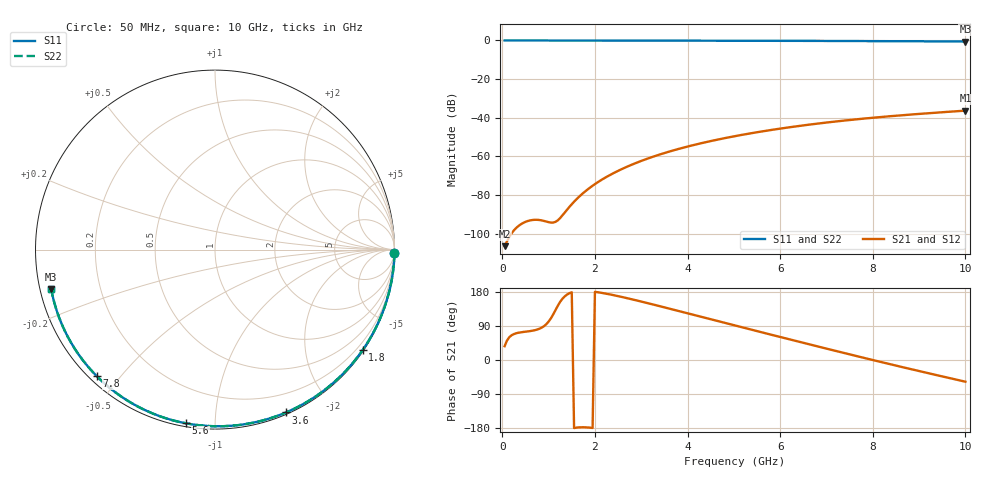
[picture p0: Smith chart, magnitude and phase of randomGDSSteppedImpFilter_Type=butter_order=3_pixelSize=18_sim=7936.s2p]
! freq	dB(S11)	phase(S11)	dB(S12)	phase(S12)
!  dB(S21)	phase(S21)	dB(S22)	phase(S22)
!S-par simulation data
#  GHz  S  DB  R 50
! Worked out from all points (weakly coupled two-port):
!   200 points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, 50 MHz to 10 GHz, reference 50 ohm
!   highest |S21| = -36.31 dB at 10 GHz (marker M1); lowest = -106.4 dB at 50 MHz (marker M2)
!   lowest |S11| = -0.6 dB at 10 GHz (marker M3), VSWR 31.59, Z = 1.6 - j5.93 ohm
!   |S11| at or under -10 dB: nowhere
!   |S22| runs from -0.5 to 0.0 dB; largest |S21 - S12| = 0
!   S11 on the Smith chart (normalised r, x): 50 MHz: open; 1.8 GHz: 0.03, -3.25; 3.6 GHz: 0.02, -1.53; 5.6 GHz: 0.02, -0.85; 7.8 GHz: 0.02, -0.43; 10 GHz: 0.03, -0.12
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0.05  -0.00 -1.0  -106.44 36.4  -106.44 36.4  -0.00 -1.0
0.45  -0.01 -8.7  -94.42 73.9  -94.42 73.9  -0.01 -8.7
0.85  -0.02 -16.4  -93.09 85.4  -93.09 85.4  -0.02 -16.4
1.65  -0.04 -31.4  -81.04 -177.8  -81.04 -177.8  -0.04 -31.4
1.7  -0.04 -32.4  -79.93 -177.5  -79.93 -177.5  -0.04 -32.3
1.75  -0.04 -33.3  -78.89 -177.5  -78.89 -177.5  -0.04 -33.3
1.8  -0.04 -34.2  -77.89 -177.7  -77.89 -177.7  -0.04 -34.2
2.1  -0.05 -39.7  -72.76 178.1  -72.76 178.1  -0.05 -39.7
2.3  -0.06 -43.4  -69.94 173.7  -69.94 173.7  -0.06 -43.4
2.5  -0.06 -47.0  -67.47 168.6  -67.47 168.6  -0.06 -47.0
2.9  -0.07 -54.2  -63.26 157.2  -63.26 157.2  -0.07 -54.2
3.4  -0.08 -63.0  -59.01 142.1  -59.01 142.1  -0.08 -63.0
3.6  -0.09 -66.5  -57.53 135.8  -57.53 135.8  -0.09 -66.5
4.3  -0.11 -78.3  -53.14 113.8  -53.14 113.8  -0.11 -78.3
5.05  -0.14 -90.7  -49.40 90.3  -49.40 90.3  -0.14 -90.6
5.6  -0.16 -99.4  -47.10 73.1  -47.10 73.1  -0.16 -99.4
6.15  -0.19 -108.0  -45.09 56.1  -45.09 56.1  -0.19 -108.0
6.7  -0.23 -116.5  -43.34 39.2  -43.34 39.2  -0.23 -116.5
7.8  -0.31 -133.1  -40.44 5.9  -40.44 5.9  -0.31 -133.0
8.35  -0.36 -141.3  -39.25 -10.4  -39.25 -10.4  -0.36 -141.3
9.2  -0.45 -154.1  -37.65 -34.9  -37.65 -34.9  -0.45 -154.1
10  -0.55 -166.5  -36.31 -57.3  -36.31 -57.3  -0.55 -166.4
